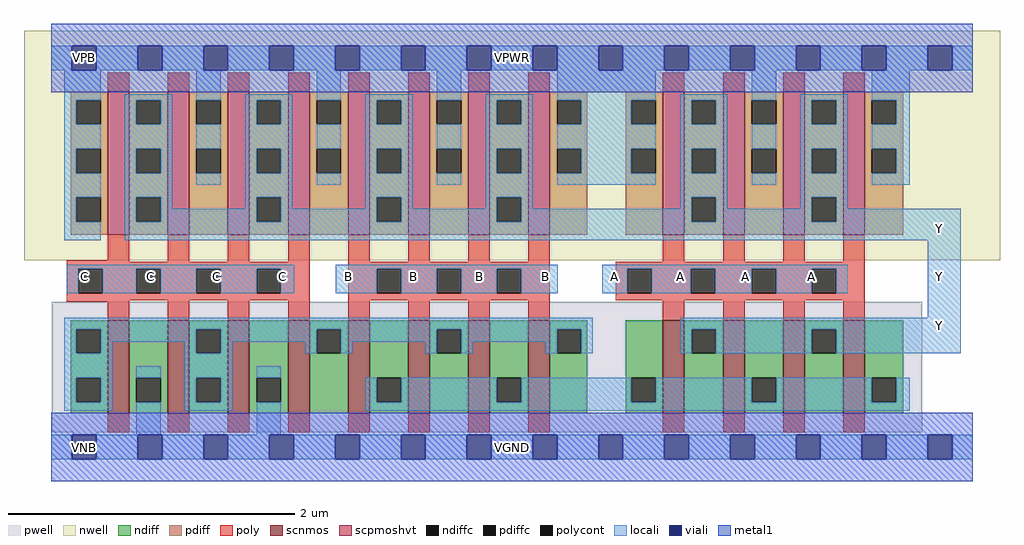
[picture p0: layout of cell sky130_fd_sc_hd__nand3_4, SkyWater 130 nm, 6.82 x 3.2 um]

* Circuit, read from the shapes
.subckt sky130_fd_sc_hd__nand3_4 A B C VGND VNB VPB VPWR Y
XM1 VGND C n1 VNB sky130_fd_pr__nfet_01v8 w=0.65 l=0.15 m=4
XM2 n2 B n1 VNB sky130_fd_pr__nfet_01v8 w=0.65 l=0.15 m=4
XM3 Y A n2 VNB sky130_fd_pr__nfet_01v8 w=0.65 l=0.15 m=4
XM4 Y C VPWR VPB sky130_fd_pr__pfet_01v8_hvt w=1 l=0.15 m=4
XM5 Y B VPWR VPB sky130_fd_pr__pfet_01v8_hvt w=1 l=0.15 m=4
XM6 Y A VPWR VPB sky130_fd_pr__pfet_01v8_hvt w=1 l=0.15 m=4
.ends

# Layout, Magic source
magic
tech sky130A
magscale 1 2
<< nwell >>
rect -38 261 1326 582
<< pwell >>
rect 1 21 1217 203
rect 30 -17 64 21
<< scnmos >>
rect 79 47 109 177
rect 163 47 193 177
rect 247 47 277 177
rect 331 47 361 177
rect 415 47 445 177
rect 499 47 529 177
rect 583 47 613 177
rect 667 47 697 177
rect 855 47 885 177
rect 939 47 969 177
rect 1023 47 1053 177
rect 1107 47 1137 177
<< scpmoshvt >>
rect 79 297 109 497
rect 163 297 193 497
rect 247 297 277 497
rect 331 297 361 497
rect 415 297 445 497
rect 499 297 529 497
rect 583 297 613 497
rect 667 297 697 497
rect 855 297 885 497
rect 939 297 969 497
rect 1023 297 1053 497
rect 1107 297 1137 497
<< ndiff >>
rect 27 165 79 177
rect 27 131 35 165
rect 69 131 79 165
rect 27 97 79 131
rect 27 63 35 97
rect 69 63 79 97
rect 27 47 79 63
rect 109 97 163 177
rect 109 63 119 97
rect 153 63 163 97
rect 109 47 163 63
rect 193 165 247 177
rect 193 131 203 165
rect 237 131 247 165
rect 193 97 247 131
rect 193 63 203 97
rect 237 63 247 97
rect 193 47 247 63
rect 277 97 331 177
rect 277 63 287 97
rect 321 63 331 97
rect 277 47 331 63
rect 361 165 415 177
rect 361 131 371 165
rect 405 131 415 165
rect 361 47 415 131
rect 445 97 499 177
rect 445 63 455 97
rect 489 63 499 97
rect 445 47 499 63
rect 529 165 583 177
rect 529 131 539 165
rect 573 131 583 165
rect 529 47 583 131
rect 613 97 667 177
rect 613 63 623 97
rect 657 63 667 97
rect 613 47 667 63
rect 697 165 749 177
rect 697 131 707 165
rect 741 131 749 165
rect 697 47 749 131
rect 803 97 855 177
rect 803 63 811 97
rect 845 63 855 97
rect 803 47 855 63
rect 885 165 939 177
rect 885 131 895 165
rect 929 131 939 165
rect 885 47 939 131
rect 969 97 1023 177
rect 969 63 979 97
rect 1013 63 1023 97
rect 969 47 1023 63
rect 1053 165 1107 177
rect 1053 131 1063 165
rect 1097 131 1107 165
rect 1053 47 1107 131
rect 1137 97 1191 177
rect 1137 63 1147 97
rect 1181 63 1191 97
rect 1137 47 1191 63
<< pdiff >>
rect 27 485 79 497
rect 27 451 35 485
rect 69 451 79 485
rect 27 417 79 451
rect 27 383 35 417
rect 69 383 79 417
rect 27 349 79 383
rect 27 315 35 349
rect 69 315 79 349
rect 27 297 79 315
rect 109 485 163 497
rect 109 451 119 485
rect 153 451 163 485
rect 109 417 163 451
rect 109 383 119 417
rect 153 383 163 417
rect 109 349 163 383
rect 109 315 119 349
rect 153 315 163 349
rect 109 297 163 315
rect 193 485 247 497
rect 193 451 203 485
rect 237 451 247 485
rect 193 417 247 451
rect 193 383 203 417
rect 237 383 247 417
rect 193 297 247 383
rect 277 485 331 497
rect 277 451 287 485
rect 321 451 331 485
rect 277 417 331 451
rect 277 383 287 417
rect 321 383 331 417
rect 277 349 331 383
rect 277 315 287 349
rect 321 315 331 349
rect 277 297 331 315
rect 361 485 415 497
rect 361 451 371 485
rect 405 451 415 485
rect 361 417 415 451
rect 361 383 371 417
rect 405 383 415 417
rect 361 297 415 383
rect 445 485 499 497
rect 445 451 455 485
rect 489 451 499 485
rect 445 417 499 451
rect 445 383 455 417
rect 489 383 499 417
rect 445 349 499 383
rect 445 315 455 349
rect 489 315 499 349
rect 445 297 499 315
rect 529 485 583 497
rect 529 451 539 485
rect 573 451 583 485
rect 529 417 583 451
rect 529 383 539 417
rect 573 383 583 417
rect 529 297 583 383
rect 613 485 667 497
rect 613 451 623 485
rect 657 451 667 485
rect 613 417 667 451
rect 613 383 623 417
rect 657 383 667 417
rect 613 349 667 383
rect 613 315 623 349
rect 657 315 667 349
rect 613 297 667 315
rect 697 485 749 497
rect 697 451 707 485
rect 741 451 749 485
rect 697 417 749 451
rect 697 383 707 417
rect 741 383 749 417
rect 697 297 749 383
rect 803 485 855 497
rect 803 451 811 485
rect 845 451 855 485
rect 803 417 855 451
rect 803 383 811 417
rect 845 383 855 417
rect 803 297 855 383
rect 885 485 939 497
rect 885 451 895 485
rect 929 451 939 485
rect 885 417 939 451
rect 885 383 895 417
rect 929 383 939 417
rect 885 349 939 383
rect 885 315 895 349
rect 929 315 939 349
rect 885 297 939 315
rect 969 485 1023 497
rect 969 451 979 485
rect 1013 451 1023 485
rect 969 417 1023 451
rect 969 383 979 417
rect 1013 383 1023 417
rect 969 297 1023 383
rect 1053 485 1107 497
rect 1053 451 1063 485
rect 1097 451 1107 485
rect 1053 417 1107 451
rect 1053 383 1063 417
rect 1097 383 1107 417
rect 1053 349 1107 383
rect 1053 315 1063 349
rect 1097 315 1107 349
rect 1053 297 1107 315
rect 1137 485 1191 497
rect 1137 451 1147 485
rect 1181 451 1191 485
rect 1137 417 1191 451
rect 1137 383 1147 417
rect 1181 383 1191 417
rect 1137 297 1191 383
<< ndiffc >>
rect 35 131 69 165
rect 35 63 69 97
rect 119 63 153 97
rect 203 131 237 165
rect 203 63 237 97
rect 287 63 321 97
rect 371 131 405 165
rect 455 63 489 97
rect 539 131 573 165
rect 623 63 657 97
rect 707 131 741 165
rect 811 63 845 97
rect 895 131 929 165
rect 979 63 1013 97
rect 1063 131 1097 165
rect 1147 63 1181 97
<< pdiffc >>
rect 35 451 69 485
rect 35 383 69 417
rect 35 315 69 349
rect 119 451 153 485
rect 119 383 153 417
rect 119 315 153 349
rect 203 451 237 485
rect 203 383 237 417
rect 287 451 321 485
rect 287 383 321 417
rect 287 315 321 349
rect 371 451 405 485
rect 371 383 405 417
rect 455 451 489 485
rect 455 383 489 417
rect 455 315 489 349
rect 539 451 573 485
rect 539 383 573 417
rect 623 451 657 485
rect 623 383 657 417
rect 623 315 657 349
rect 707 451 741 485
rect 707 383 741 417
rect 811 451 845 485
rect 811 383 845 417
rect 895 451 929 485
rect 895 383 929 417
rect 895 315 929 349
rect 979 451 1013 485
rect 979 383 1013 417
rect 1063 451 1097 485
rect 1063 383 1097 417
rect 1063 315 1097 349
rect 1147 451 1181 485
rect 1147 383 1181 417
<< poly >>
rect 79 497 109 523
rect 163 497 193 523
rect 247 497 277 523
rect 331 497 361 523
rect 415 497 445 523
rect 499 497 529 523
rect 583 497 613 523
rect 667 497 697 523
rect 855 497 885 523
rect 939 497 969 523
rect 1023 497 1053 523
rect 1107 497 1137 523
rect 79 261 109 297
rect 22 259 109 261
rect 163 259 193 297
rect 247 259 277 297
rect 331 259 361 297
rect 22 249 361 259
rect 22 215 38 249
rect 72 215 119 249
rect 153 215 203 249
rect 237 215 287 249
rect 321 215 361 249
rect 22 205 361 215
rect 22 203 109 205
rect 79 177 109 203
rect 163 177 193 205
rect 247 177 277 205
rect 331 177 361 205
rect 415 259 445 297
rect 499 259 529 297
rect 583 259 613 297
rect 667 259 697 297
rect 855 259 885 297
rect 939 259 969 297
rect 1023 259 1053 297
rect 1107 259 1137 297
rect 415 249 697 259
rect 415 215 455 249
rect 489 215 539 249
rect 573 215 623 249
rect 657 215 697 249
rect 415 205 697 215
rect 789 249 1137 259
rect 789 215 805 249
rect 839 215 894 249
rect 928 215 979 249
rect 1013 215 1063 249
rect 1097 215 1137 249
rect 789 205 1137 215
rect 415 177 445 205
rect 499 177 529 205
rect 583 177 613 205
rect 667 177 697 205
rect 855 177 885 205
rect 939 177 969 205
rect 1023 177 1053 205
rect 1107 177 1137 205
rect 79 21 109 47
rect 163 21 193 47
rect 247 21 277 47
rect 331 21 361 47
rect 415 21 445 47
rect 499 21 529 47
rect 583 21 613 47
rect 667 21 697 47
rect 855 21 885 47
rect 939 21 969 47
rect 1023 21 1053 47
rect 1107 21 1137 47
<< polycont >>
rect 38 215 72 249
rect 119 215 153 249
rect 203 215 237 249
rect 287 215 321 249
rect 455 215 489 249
rect 539 215 573 249
rect 623 215 657 249
rect 805 215 839 249
rect 894 215 928 249
rect 979 215 1013 249
rect 1063 215 1097 249
<< locali >>
rect 0 527 29 561
rect 63 527 121 561
rect 155 527 213 561
rect 247 527 305 561
rect 339 527 397 561
rect 431 527 489 561
rect 523 527 581 561
rect 615 527 673 561
rect 707 527 765 561
rect 799 527 857 561
rect 891 527 949 561
rect 983 527 1041 561
rect 1075 527 1133 561
rect 1167 527 1225 561
rect 1259 527 1288 561
rect 18 485 69 527
rect 18 451 35 485
rect 18 417 69 451
rect 18 383 35 417
rect 18 349 69 383
rect 18 315 35 349
rect 18 289 69 315
rect 103 485 169 493
rect 103 451 119 485
rect 153 451 169 485
rect 103 417 169 451
rect 103 383 119 417
rect 153 383 169 417
rect 103 349 169 383
rect 203 485 237 527
rect 203 417 237 451
rect 203 367 237 383
rect 271 485 337 493
rect 271 451 287 485
rect 321 451 337 485
rect 271 417 337 451
rect 271 383 287 417
rect 321 383 337 417
rect 103 315 119 349
rect 153 333 169 349
rect 271 349 337 383
rect 371 485 405 527
rect 371 417 405 451
rect 371 367 405 383
rect 439 485 505 493
rect 439 451 455 485
rect 489 451 505 485
rect 439 417 505 451
rect 439 383 455 417
rect 489 383 505 417
rect 271 333 287 349
rect 153 315 287 333
rect 321 333 337 349
rect 439 349 505 383
rect 539 485 573 527
rect 539 417 573 451
rect 539 367 573 383
rect 607 485 673 493
rect 607 451 623 485
rect 657 451 673 485
rect 607 417 673 451
rect 607 383 623 417
rect 657 383 673 417
rect 439 333 455 349
rect 321 315 455 333
rect 489 333 505 349
rect 607 349 673 383
rect 707 485 845 527
rect 741 451 811 485
rect 707 417 845 451
rect 741 383 811 417
rect 707 367 845 383
rect 879 485 945 493
rect 879 451 895 485
rect 929 451 945 485
rect 879 417 945 451
rect 879 383 895 417
rect 929 383 945 417
rect 607 333 623 349
rect 489 315 623 333
rect 657 333 673 349
rect 879 349 945 383
rect 979 485 1013 527
rect 979 417 1013 451
rect 979 367 1013 383
rect 1047 485 1113 493
rect 1047 451 1063 485
rect 1097 451 1113 485
rect 1047 417 1113 451
rect 1047 383 1063 417
rect 1097 383 1113 417
rect 879 333 895 349
rect 657 315 895 333
rect 929 333 945 349
rect 1047 349 1113 383
rect 1147 485 1200 527
rect 1181 451 1200 485
rect 1147 417 1200 451
rect 1181 383 1200 417
rect 1147 367 1200 383
rect 1047 333 1063 349
rect 929 315 1063 333
rect 1097 333 1113 349
rect 1097 315 1271 333
rect 103 289 1271 315
rect 22 249 340 255
rect 22 215 38 249
rect 72 215 119 249
rect 153 215 203 249
rect 237 215 287 249
rect 321 215 340 249
rect 398 249 708 255
rect 398 215 455 249
rect 489 215 539 249
rect 573 215 623 249
rect 657 215 708 249
rect 770 249 1113 255
rect 770 215 805 249
rect 839 215 894 249
rect 928 215 979 249
rect 1013 215 1063 249
rect 1097 215 1113 249
rect 1225 181 1271 289
rect 18 165 757 181
rect 18 131 35 165
rect 69 147 203 165
rect 69 131 85 147
rect 18 97 85 131
rect 187 131 203 147
rect 237 147 371 165
rect 237 131 253 147
rect 355 131 371 147
rect 405 147 539 165
rect 405 131 421 147
rect 523 131 539 147
rect 573 147 707 165
rect 573 131 589 147
rect 691 131 707 147
rect 741 131 757 165
rect 879 165 1271 181
rect 879 131 895 165
rect 929 131 1063 165
rect 1097 131 1271 165
rect 18 63 35 97
rect 69 63 85 97
rect 18 51 85 63
rect 119 97 153 113
rect 119 17 153 63
rect 187 97 253 131
rect 187 63 203 97
rect 237 63 253 97
rect 187 51 253 63
rect 287 97 321 113
rect 287 17 321 63
rect 439 63 455 97
rect 489 63 623 97
rect 657 63 811 97
rect 845 63 979 97
rect 1013 63 1147 97
rect 1181 63 1200 97
rect 439 51 1200 63
rect 0 -17 29 17
rect 63 -17 121 17
rect 155 -17 213 17
rect 247 -17 305 17
rect 339 -17 397 17
rect 431 -17 489 17
rect 523 -17 581 17
rect 615 -17 673 17
rect 707 -17 765 17
rect 799 -17 857 17
rect 891 -17 949 17
rect 983 -17 1041 17
rect 1075 -17 1133 17
rect 1167 -17 1225 17
rect 1259 -17 1288 17
<< viali >>
rect 29 527 63 561
rect 121 527 155 561
rect 213 527 247 561
rect 305 527 339 561
rect 397 527 431 561
rect 489 527 523 561
rect 581 527 615 561
rect 673 527 707 561
rect 765 527 799 561
rect 857 527 891 561
rect 949 527 983 561
rect 1041 527 1075 561
rect 1133 527 1167 561
rect 1225 527 1259 561
rect 29 -17 63 17
rect 121 -17 155 17
rect 213 -17 247 17
rect 305 -17 339 17
rect 397 -17 431 17
rect 489 -17 523 17
rect 581 -17 615 17
rect 673 -17 707 17
rect 765 -17 799 17
rect 857 -17 891 17
rect 949 -17 983 17
rect 1041 -17 1075 17
rect 1133 -17 1167 17
rect 1225 -17 1259 17
<< metal1 >>
rect 0 561 1288 592
rect 0 527 29 561
rect 63 527 121 561
rect 155 527 213 561
rect 247 527 305 561
rect 339 527 397 561
rect 431 527 489 561
rect 523 527 581 561
rect 615 527 673 561
rect 707 527 765 561
rect 799 527 857 561
rect 891 527 949 561
rect 983 527 1041 561
rect 1075 527 1133 561
rect 1167 527 1225 561
rect 1259 527 1288 561
rect 0 496 1288 527
rect 0 17 1288 48
rect 0 -17 29 17
rect 63 -17 121 17
rect 155 -17 213 17
rect 247 -17 305 17
rect 339 -17 397 17
rect 431 -17 489 17
rect 523 -17 581 17
rect 615 -17 673 17
rect 707 -17 765 17
rect 799 -17 857 17
rect 891 -17 949 17
rect 983 -17 1041 17
rect 1075 -17 1133 17
rect 1167 -17 1225 17
rect 1259 -17 1288 17
rect 0 -48 1288 -17
<< labels >>
flabel locali s 1225 153 1259 187 0 FreeSans 200 0 0 0 Y
port 8 nsew signal output
flabel locali s 1225 221 1259 255 0 FreeSans 200 0 0 0 Y
port 8 nsew signal output
flabel locali s 1225 289 1259 323 0 FreeSans 200 0 0 0 Y
port 8 nsew signal output
flabel locali s 1046 221 1080 255 0 FreeSans 200 0 0 0 A
port 1 nsew signal input
flabel locali s 954 221 988 255 0 FreeSans 200 0 0 0 A
port 1 nsew signal input
flabel locali s 862 221 896 255 0 FreeSans 200 0 0 0 A
port 1 nsew signal input
flabel locali s 674 221 708 255 0 FreeSans 200 0 0 0 B
port 2 nsew signal input
flabel locali s 582 221 616 255 0 FreeSans 200 0 0 0 B
port 2 nsew signal input
flabel locali s 490 221 524 255 0 FreeSans 200 0 0 0 B
port 2 nsew signal input
flabel locali s 398 221 432 255 0 FreeSans 200 0 0 0 B
port 2 nsew signal input
flabel locali s 306 221 340 255 0 FreeSans 200 0 0 0 C
port 3 nsew signal input
flabel locali s 214 221 248 255 0 FreeSans 200 0 0 0 C
port 3 nsew signal input
flabel locali s 122 221 156 255 0 FreeSans 200 0 0 0 C
port 3 nsew signal input
flabel locali s 770 221 804 255 0 FreeSans 200 0 0 0 A
port 1 nsew signal input
flabel locali s 30 221 64 255 0 FreeSans 200 0 0 0 C
port 3 nsew signal input
flabel pwell s 30 -17 64 17 0 FreeSans 200 0 0 0 VNB
port 5 nsew ground bidirectional
flabel nwell s 30 527 64 561 0 FreeSans 200 0 0 0 VPB
port 6 nsew power bidirectional
flabel metal1 s 30 -17 64 17 0 FreeSans 200 0 0 0 VGND
port 4 nsew ground bidirectional abutment
flabel metal1 s 30 527 64 561 0 FreeSans 200 0 0 0 VPWR
port 7 nsew power bidirectional abutment
rlabel comment s 0 0 0 0 4 nand3_4
rlabel metal1 s 0 -48 1288 48 1 VGND
port 4 nsew ground bidirectional abutment
rlabel metal1 s 0 496 1288 592 1 VPWR
port 7 nsew power bidirectional abutment
<< properties >>
string FIXED_BBOX 0 0 1288 544
string GDS_END 1838354
string GDS_FILE $PDKPATH/libs.ref/sky130_fd_sc_hd/gds/sky130_fd_sc_hd.gds
string GDS_START 1827218
string LEFclass CORE
string LEFsite unithd
string LEFsymmetry X Y R90
string path 0.000 0.000 32.200 0.000 
<< end >>
